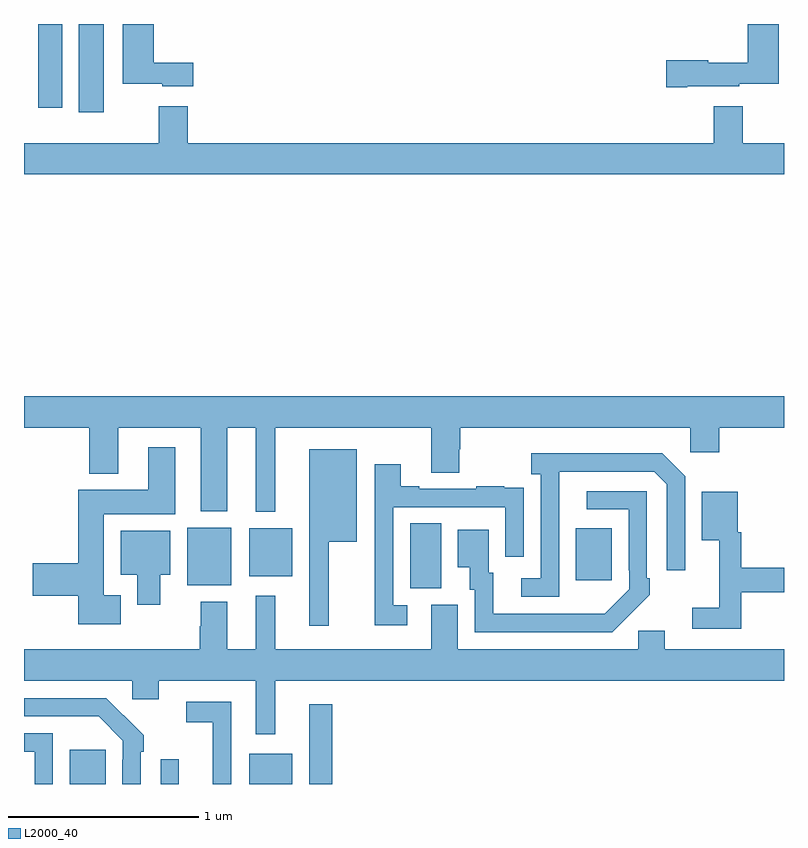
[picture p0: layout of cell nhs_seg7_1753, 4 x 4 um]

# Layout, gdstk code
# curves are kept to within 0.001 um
import gdstk
lib = gdstk.Library(unit=1e-6, precision=1e-09)
def R(c, l, rs):  # rectangles x0, y0, x1, y1
    for r in rs: c.add(gdstk.rectangle(r[:2], r[2:], *l))
def P(c, l, *ps):  # polygons
    for p in ps: c.add(gdstk.Polygon(p, *l))
L2000_40 = (2000, 40)

nhs_seg7_1753 = lib.new_cell('nhs_seg7_1753')
R(nhs_seg7_1753, L2000_40, [(229.241,1072,229.429,1072.18), (229.719,1072,229.815,1072.129), (230.186,1072,230.413,1072.159), (230.501,1072,230.623,1072.42), (231.032,1073.029,231.196,1073.372), (229.859,1073.045,230.092,1073.35), (231.905,1073.073,232.093,1073.347), (230.186,1073.093,230.413,1073.347), (229.289,1075.536,229.42,1076), (229.076,1075.56,229.201,1076)])
P(nhs_seg7_1753, L2000_40, [(229.891,1075.795),(229.682,1075.795),(229.682,1075.999),(229.52,1075.999),(229.52,1075.685),(229.728,1075.685),(229.728,1075.673),(229.891,1075.673)],
  [(232.492,1075.673),(232.764,1075.673),(232.764,1075.685),(232.972,1075.685),(232.972,1075.999),(232.81,1075.999),(232.81,1075.795),(232.602,1075.795),(232.602,1075.808),(232.38,1075.808),(232.38,1075.666),(232.492,1075.666)],
  [(233,1075.372),(232.783,1075.372),(232.783,1075.567),(232.631,1075.567),(232.631,1075.372),(229.862,1075.372),(229.862,1075.567),(229.709,1075.567),(229.709,1075.372),(229,1075.372),(229,1075.208),(233,1075.208)],
  [(230.323,1073.876),(231.143,1073.876),(231.143,1073.638),(231.291,1073.638),(231.291,1073.763),(231.296,1073.763),(231.296,1073.876),(232.506,1073.876),(232.506,1073.745),(232.658,1073.745),(232.658,1073.876),(233,1073.876),(233,1074.04),(229,1074.04),(229,1073.876),(229.343,1073.876),(229.343,1073.633),(229.495,1073.633),(229.495,1073.876),(229.931,1073.876),(229.931,1073.435),(230.071,1073.435),(230.071,1073.876),(230.219,1073.876),(230.219,1073.432),(230.323,1073.432)],
  [(229.51,1072.993),(229.42,1072.993),(229.42,1073.42),(229.795,1073.42),(229.795,1073.773),(229.655,1073.773),(229.655,1073.548),(229.286,1073.548),(229.286,1073.162),(229.047,1073.162),(229.047,1072.991),(229.286,1072.991),(229.286,1072.841),(229.51,1072.841)],
  [(230.605,1073.276),(230.752,1073.276),(230.752,1073.761),(230.501,1073.761),(230.501,1072.833),(230.605,1072.833)],
  [(231.816,1073.443),(231.817,1073.643),(232.317,1073.643),(232.383,1073.577),(232.383,1073.124),(232.479,1073.124),(232.479,1073.619),(232.358,1073.74),(231.669,1073.74),(231.669,1073.63),(231.72,1073.63),(231.72,1073.082),(231.618,1073.082),(231.618,1072.986),(231.816,1072.986)],
  [(231.016,1072.941),(230.943,1072.941),(230.943,1073.457),(231.534,1073.457),(231.534,1073.196),(231.63,1073.196),(231.63,1073.45),(231.629,1073.45),(231.629,1073.559),(231.527,1073.559),(231.527,1073.566),(231.379,1073.566),(231.379,1073.553),(231.079,1073.553),(231.079,1073.566),(230.983,1073.566),(230.983,1073.683),(230.847,1073.683),(230.847,1073.18),(230.845,1073.18),(230.845,1072.836),(231.016,1072.836)],
  [(232.187,1072.891),(232.188,1072.89),(232.293,1072.995),(232.293,1073.083),(232.278,1073.083),(232.278,1073.541),(231.963,1073.541),(231.963,1073.445),(232.182,1073.445),(232.182,1073.125),(232.185,1073.125),(232.185,1073.025),(232.057,1072.897),(231.469,1072.896),(231.469,1073.112),(231.445,1073.112),(231.445,1073.338),(231.284,1073.338),(231.284,1073.141),(231.347,1073.141),(231.347,1073.022),(231.372,1073.022),(231.372,1072.8),(232.096,1072.8)],
  [(232.775,1073.01),(233,1073.01),(233,1073.138),(232.775,1073.138),(232.775,1073.325),(232.756,1073.325),(232.756,1073.539),(232.568,1073.539),(232.568,1073.282),(232.658,1073.282),(232.658,1072.927),(232.518,1072.927),(232.518,1072.818),(232.775,1072.818)],
  [(229.717,1073.102),(229.771,1073.102),(229.771,1073.332),(229.508,1073.332),(229.508,1073.102),(229.595,1073.102),(229.595,1072.944),(229.717,1072.944)],
  [(230.323,1072.544),(233,1072.544),(233,1072.708),(232.372,1072.708),(232.372,1072.806),(232.233,1072.806),(232.233,1072.708),(231.283,1072.708),(231.283,1072.944),(231.143,1072.944),(231.143,1072.708),(230.323,1072.708),(230.323,1072.99),(230.219,1072.99),(230.219,1072.708),(230.071,1072.708),(230.071,1072.96),(229.931,1072.96),(229.931,1072.829),(229.924,1072.829),(229.924,1072.708),(229,1072.708),(229,1072.544),(229.569,1072.544),(229.569,1072.446),(229.708,1072.446),(229.708,1072.544),(230.219,1072.544),(230.219,1072.263),(230.323,1072.263)],
  [(229.614,1072.169),(229.629,1072.169),(229.629,1072.257),(229.432,1072.452),(229,1072.452),(229,1072.356),(229.393,1072.356),(229.521,1072.227),(229.521,1072.127),(229.518,1072.127),(229.518,1072),(229.614,1072)],
  [(230.091,1072.434),(229.854,1072.434),(229.854,1072.326),(229.994,1072.326),(229.994,1072),(230.091,1072)],
  [(229.152,1072.266),(229,1072.266),(229,1072.17),(229.056,1072.17),(229.056,1072),(229.152,1072)])

lib.write_gds('nhs_seg7_1753.gds')
